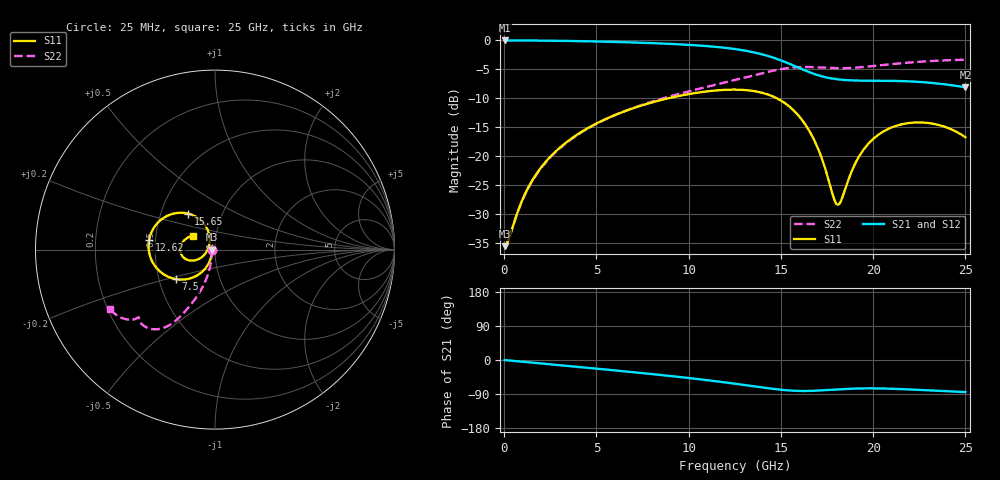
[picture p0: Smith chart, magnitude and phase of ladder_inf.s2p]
! BV_vna_clk_w5: kisi's ladder as in the channel (infinite plates), 3D loss model
# Hz S RI R 50
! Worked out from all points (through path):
!   1000 points, 25 MHz to 25 GHz, reference 50 ohm
!   highest |S21| = -0.15 dB at 25 MHz (marker M1); lowest = -8.2 dB at 25 GHz (marker M2)
!   group delay of S21, straight-line fit = 9.93 ps
!   lowest |S11| = -35.5 dB at 25 MHz (marker M3), VSWR 1.03, Z = 48.4 - j0.0898 ohm
!   |S11| at or under -10 dB: start of sweep to 9.017 GHz; 14.72 GHz to end of sweep
!   |S22| runs from -35.5 to -3.5 dB; largest |S21 - S12| = 0
!   S11 on the Smith chart (normalised r, x): 25 MHz: 0.97, -0.00; 7.5 GHz: 0.61, -0.22; 12.62 GHz: 0.46, +0.06; 15.65 GHz: 0.69, +0.29; 25 GHz: 0.77, +0.12
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2.5e7  -0.0167 -0.000928  0.9833 -0.00194  0.9833 -0.00194  -0.0167 -0.000943
2.5e8  -0.017 -0.00928  0.983 -0.0194  0.983 -0.0194  -0.0168 -0.00943
1.05e9  -0.0213 -0.0387  0.979 -0.0812  0.979 -0.0812  -0.0185 -0.0396
1.75e9  -0.0294 -0.0635  0.9715 -0.1349  0.9715 -0.1349  -0.0217 -0.0657
2.825e9  -0.0494 -0.0987  0.9528 -0.216  0.9528 -0.216  -0.0296 -0.1051
4.2e9  -0.0871 -0.1357  0.9163 -0.3165  0.9163 -0.3165  -0.0447 -0.1535
7.5e9  -0.2176 -0.1648  0.7731 -0.5335  0.7731 -0.5335  -0.0986 -0.2574
8.35e9  -0.2552 -0.1538  0.7232 -0.5821  0.7232 -0.5821  -0.1155 -0.2813
1.0425e10  -0.3379 -0.0863  0.5753 -0.6824  0.5753 -0.6824  -0.1606 -0.337
1.2525e10  -0.3685 0.0466  0.3806 -0.7362  0.3806 -0.7362  -0.2178 -0.3948
1.2625e10  -0.3672 0.0542  0.3702 -0.7366  0.3702 -0.7366  -0.2212 -0.3977
1.435e10  -0.2834 0.1784  0.1886 -0.694  0.1886 -0.694  -0.2977 -0.4393
1.565e10  -0.1489 0.2004  0.0941 -0.5942  0.0941 -0.5942  -0.3733 -0.4372
1.6675e10  -0.0571 0.1388  0.0771 -0.5093  0.0771 -0.5093  -0.4143 -0.4068
1.7225e10  -0.0334 0.0883  0.0835 -0.4759  0.0835 -0.4759  -0.4226 -0.3901
1.7875e10  -0.0317 0.0294  0.0956 -0.4501  0.0956 -0.4501  -0.4246 -0.3784
1.81e10  -0.0364 0.0113  0.0997 -0.4441  0.0997 -0.4441  -0.4247 -0.3768
1.9375e10  -0.0928 -0.0535  0.1146 -0.4285  0.1146 -0.4285  -0.4351 -0.3825
2.005e10  -0.1281 -0.0616  0.1154 -0.4275  0.1154 -0.4275  -0.4492 -0.3879
2.085e10  -0.1633 -0.0525  0.11 -0.4282  0.11 -0.4282  -0.471 -0.3905
2.2925e10  -0.1914 0.0187  0.0743 -0.4212  0.0743 -0.4212  -0.5335 -0.3741
2.5e10  -0.1219 0.078  0.0366 -0.3874  0.0366 -0.3874  -0.5857 -0.3288
